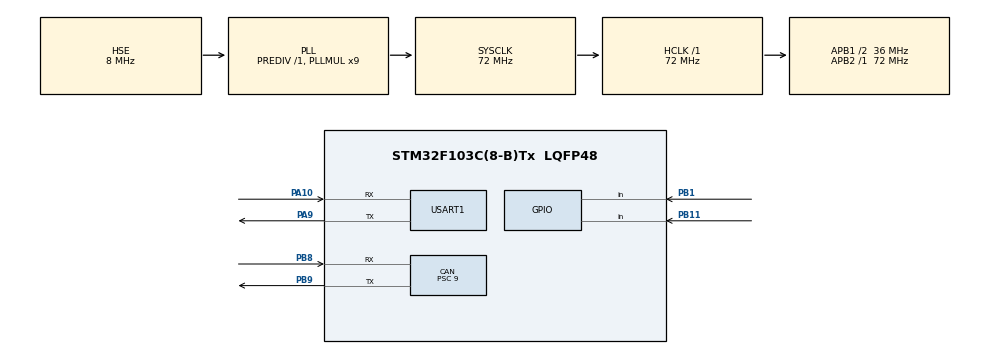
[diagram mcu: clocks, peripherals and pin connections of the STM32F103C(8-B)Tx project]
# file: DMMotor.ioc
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CAN.BS1=CAN_BS1_2TQ
CAN.CalculateBaudRate=1000000
CAN.CalculateTimeBit=1000
CAN.CalculateTimeQuantum=250.0
CAN.NART=ENABLE
CAN.Prescaler=9
CAN.SJW=CAN_SJW_1TQ
Mcu.Family=STM32F1
Mcu.Name=STM32F103C(8-B)Tx
Mcu.Package=LQFP48
NVIC.PriorityGroup=NVIC_PRIORITYGROUP_4
PA10.Mode=Asynchronous
PA10.Signal=USART1_RX
PA13.Mode=Serial_Wire
PA13.Signal=SYS_JTMS-SWDIO
PA14.Mode=Serial_Wire
PA14.Signal=SYS_JTCK-SWCLK
PA9.Mode=Asynchronous
PA9.Signal=USART1_TX
PB1.GPIO_PuPd=GPIO_PULLUP
PB1.Signal=GPIO_Input
PB11.GPIO_PuPd=GPIO_PULLUP
PB11.Signal=GPIO_Input
PB8.Mode=CAN_Activate
PB8.Signal=CAN_RX
PB9.Mode=CAN_Activate
PB9.Signal=CAN_TX
PD0-OSC_IN.Mode=HSE-External-Oscillator
PD0-OSC_IN.Signal=RCC_OSC_IN
PD1-OSC_OUT.Mode=HSE-External-Oscillator
PD1-OSC_OUT.Signal=RCC_OSC_OUT
ProjectManager.HeapSize=0x200
ProjectManager.StackSize=0x400
ProjectManager.TargetToolchain=MDK-ARM V5.32
RCC.AHBFreq_Value=72000000
RCC.APB1CLKDivider=RCC_HCLK_DIV2
RCC.APB1Freq_Value=36000000
RCC.APB1TimFreq_Value=72000000
RCC.APB2Freq_Value=72000000
RCC.APB2TimFreq_Value=72000000
RCC.HCLKFreq_Value=72000000
RCC.PLLMUL=RCC_PLL_MUL9
RCC.PLLSourceVirtual=RCC_PLLSOURCE_HSE
RCC.SYSCLKFreq_VALUE=72000000
RCC.SYSCLKSource=RCC_SYSCLKSOURCE_PLLCLK
RCC.USBFreq_Value=72000000
USART1.VirtualMode=VM_ASYNC
board=custom

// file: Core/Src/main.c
/* USER CODE BEGIN Header */
/**
 ******************************************************************************
 * @file           : main.c
 * @brief          : Main program body
 ******************************************************************************
 * @attention
 *
 * Copyright (c) 2026 STMicroelectronics.
 * All rights reserved.
 *
 * This software is licensed under terms that can be found in the LICENSE file
 * in the root directory of this software component.
 * If no LICENSE file comes with this software, it is provided AS-IS.
 *
 ******************************************************************************
 */
/* USER CODE END Header */
#include "main.h"
#include "can.h"
#include "usart.h"
#include "gpio.h"

/* USER CODE BEGIN Includes */
#include "MyCAN.h"
#include "DM4310.h"
#include "vofa.h"
#include "Transform.h"
/* USER CODE END Includes */

/* USER CODE BEGIN PV */
CAN_RxHeaderTypeDef RxHeader;
uint8_t RxData[8];
PID_SpeedStruct Speed_PID;
float Target_Speed = 0.0;
uint8_t count = 0;
uint8_t debounceCounterPB1 = 0;         // 定义PB1消抖计数器
uint8_t lastPinStatePB1 = GPIO_PIN_SET; // 定义PB1上次按键状态

uint8_t debounceCounterPB11 = 0;         // 定义PB11消抖计数器
uint8_t lastPinStatePB11 = GPIO_PIN_SET; // 定义PB11上次按键状态

// CAN_HandleTypeDef hcan;
/* USER CODE END PV */

void SystemClock_Config(void);
/* USER CODE BEGIN PFP */
void checkButtons(void);
/* USER CODE END PFP */

/* USER CODE BEGIN 0 */
void checkButtons(void)
{
  uint8_t currentPinStatePB1 = HAL_GPIO_ReadPin(GPIOB, GPIO_PIN_1);
  uint8_t currentPinStatePB11 = HAL_GPIO_ReadPin(GPIOB, GPIO_PIN_11);

  // 处理PB1按键
  if (currentPinStatePB1 == GPIO_PIN_RESET)
  {
    if (lastPinStatePB1 == GPIO_PIN_RESET)
    {
      debounceCounterPB1++;
      if (debounceCounterPB1 >= 10) // 使用固定的阈值10
      {
        // 当按键状态为低电平的时间超过阈值，认为按键被稳定按下
        Target_Speed += 10;
        debounceCounterPB1 = 0; // 按键处理后重置计数器
      }
    }
    else
    {
      debounceCounterPB1 = 1; // 如果上次是高电平，这次是低电平，计数器设为1
    }
  }
  else
  {
    debounceCounterPB1 = 0; // 如果按键状态不是低电平，重置计数器
  }

  // 处理PB11按键
  if (currentPinStatePB11 == GPIO_PIN_RESET)
  {
    if (lastPinStatePB11 == GPIO_PIN_RESET)
    {
      debounceCounterPB11++;
      if (debounceCounterPB11 >= 10) // 使用固定的阈值10
      {
        // 当按键状态为低电平的时间超过阈值，认为按键被稳定按下
        Target_Speed -= 10;
        debounceCounterPB11 = 0; // 按键处理后重置计数器
      }
    }
    else
    {
      debounceCounterPB11 = 1; // 如果上次是高电平，这次是低电平，计数器设为1
    }
  }
  else
  {
    debounceCounterPB11 = 0; // 如果按键状态不是低电平，重置计数器
  }

  lastPinStatePB1 = currentPinStatePB1;   // 更新PB1上次按键状态
  lastPinStatePB11 = currentPinStatePB11; // 更新PB11上次按键状态
}
/* USER CODE END 0 */

int main(void)
{

  /* USER CODE BEGIN 1 */
  Speed_PID.Kp = 0.054982;
  Speed_PID.Ki = 0.003175;
  Speed_PID.Kd = 0.000001275;
  Speed_PID.I_Max = 5.00;
  Speed_PID.Out_Max = 1.00;
  /* USER CODE END 1 */

  /* MCU Configuration--------------------------------------------------------*/

  /* Reset of all peripherals, Initializes the Flash interface and the Systick. */
  HAL_Init();

  /* Configure the system clock */
  SystemClock_Config();

  /* Initialize all configured peripherals */
  MX_GPIO_Init();
  MX_CAN_Init();
  MX_USART1_UART_Init();
  /* USER CODE BEGIN 2 */
  MyCAN_Init();
  Enable_DM4310(); // 使能DM4310
  // Disable_DM4310();
  /* USER CODE END 2 */

  /* Infinite loop */
  /* USER CODE BEGIN WHILE */

  while (1)
  {
//    checkButtons();

//    if (Target_Speed > 20)
//    {
//      Target_Speed = -0;
//    }
//    else if (Target_Speed < -20)
//    {
//      Target_Speed = -0;
//    }

//    HAL_CAN_GetRxMessage(&hcan, CAN_RX_FIFO0, &RxHeader, RxData);
//    //    uint16_t Cur_torque = ((RxData[4] & 0x0F) << 8) | RxData[5];
//    uint16_t Cur_Speed = RxData[3] << 4 | (RxData[4] & 0xF0) >> 4;
//    float ActualSpeed = uint_to_float(Cur_Speed, -30, 30, 12);
//    Set_DM4310_Speed(Target_Speed, ActualSpeed, &Speed_PID);

//    HAL_Delay(10);

    /* USER CODE END WHILE */

  }
}

void SystemClock_Config(void)
{
  RCC_OscInitTypeDef RCC_OscInitStruct = {0};
  RCC_ClkInitTypeDef RCC_ClkInitStruct = {0};

  /** Initializes the RCC Oscillators according to the specified parameters
   * in the RCC_OscInitTypeDef structure.
   */
  RCC_OscInitStruct.OscillatorType = RCC_OSCILLATORTYPE_HSE;
  RCC_OscInitStruct.HSEState = RCC_HSE_ON;
  RCC_OscInitStruct.HSEPredivValue = RCC_HSE_PREDIV_DIV1;
  RCC_OscInitStruct.HSIState = RCC_HSI_ON;
  RCC_OscInitStruct.PLL.PLLState = RCC_PLL_ON;
  RCC_OscInitStruct.PLL.PLLSource = RCC_PLLSOURCE_HSE;
  RCC_OscInitStruct.PLL.PLLMUL = RCC_PLL_MUL9;
  if (HAL_RCC_OscConfig(&RCC_OscInitStruct) != HAL_OK)
  {
    Error_Handler();
  }

  /** Initializes the CPU, AHB and APB buses clocks
   */
  RCC_ClkInitStruct.ClockType = RCC_CLOCKTYPE_HCLK | RCC_CLOCKTYPE_SYSCLK | RCC_CLOCKTYPE_PCLK1 | RCC_CLOCKTYPE_PCLK2;
  RCC_ClkInitStruct.SYSCLKSource = RCC_SYSCLKSOURCE_PLLCLK;
  RCC_ClkInitStruct.AHBCLKDivider = RCC_SYSCLK_DIV1;
  RCC_ClkInitStruct.APB1CLKDivider = RCC_HCLK_DIV2;
  RCC_ClkInitStruct.APB2CLKDivider = RCC_HCLK_DIV1;

  if (HAL_RCC_ClockConfig(&RCC_ClkInitStruct, FLASH_LATENCY_2) != HAL_OK)
  {
    Error_Handler();
  }
}

void Error_Handler(void)
{
  __disable_irq();
  while (1)
  {
  }
}
